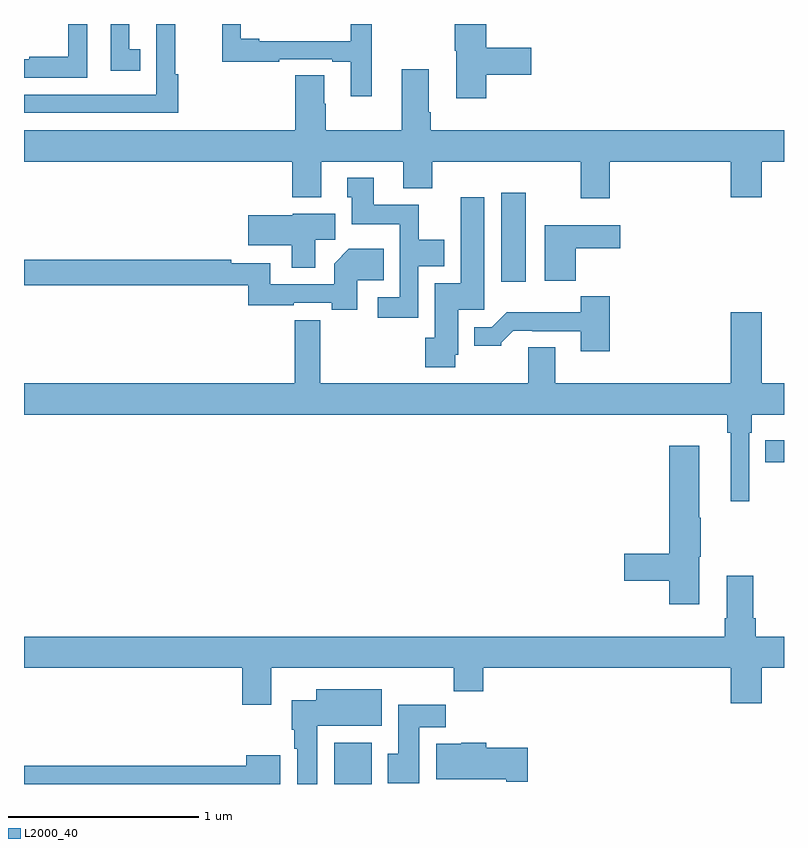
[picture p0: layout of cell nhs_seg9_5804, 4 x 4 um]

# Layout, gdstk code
import gdstk
lib = gdstk.Library(unit=1e-6, precision=1e-09)
def R(c, l, rs):  # rectangles x0, y0, x1, y1
    for r in rs: c.add(gdstk.rectangle(r[:2], r[2:], *l))
def P(c, l, *ps):  # polygons
    for p in ps: c.add(gdstk.Polygon(p, *l))
L2000_40 = (2000, 40)

nhs_seg9_5804 = lib.new_cell('nhs_seg9_5804')
R(nhs_seg9_5804, L2000_40, [(450.632,1170.5,450.829,1170.718), (452.902,1172.194,453,1172.31), (451.511,1173.144,451.642,1173.613), (450.311,1174.499,450.553,1174.5)])
P(nhs_seg9_5804, L2000_40, [(450.829,1174.5),(450.719,1174.5),(450.719,1174.41),(450.238,1174.41),(450.238,1174.423),(450.142,1174.423),(450.142,1174.5),(450.043,1174.5),(450.043,1174.302),(450.344,1174.302),(450.344,1174.314),(450.623,1174.314),(450.623,1174.302),(450.719,1174.302),(450.719,1174.119),(450.829,1174.119)],
  [(449.813,1174.235),(449.796,1174.235),(449.796,1174.5),(449.696,1174.5),(449.696,1174.456),(449.697,1174.456),(449.697,1174.128),(449,1174.128),(449,1174.032),(449.813,1174.032)],
  [(449.334,1174.5),(449.233,1174.5),(449.233,1174.327),(449.027,1174.327),(449.027,1174.315),(449,1174.315),(449,1174.218),(449.334,1174.218)],
  [(451.433,1174.234),(451.669,1174.234),(451.669,1174.376),(451.433,1174.376),(451.433,1174.5),(451.267,1174.5),(451.267,1174.359),(451.274,1174.359),(451.274,1174.11),(451.433,1174.11)],
  [(449.612,1174.367),(449.554,1174.367),(449.554,1174.5),(449.457,1174.5),(449.457,1174.254),(449.612,1174.254)],
  [(452.084,1173.776),(452.72,1173.776),(452.72,1173.588),(452.884,1173.588),(452.884,1173.776),(453,1173.776),(453,1173.94),(451.142,1173.94),(451.142,1174.036),(451.129,1174.036),(451.129,1174.261),(450.989,1174.261),(450.989,1173.94),(450.588,1173.94),(450.588,1174.079),(450.58,1174.079),(450.58,1174.229),(450.428,1174.229),(450.428,1173.94),(449,1173.94),(449,1173.776),(450.413,1173.776),(450.413,1173.587),(450.565,1173.587),(450.565,1173.776),(450.995,1173.776),(450.995,1173.635),(451.148,1173.635),(451.148,1173.776),(451.931,1173.776),(451.931,1173.582),(452.084,1173.582)],
  [(451.074,1173.224),(451.213,1173.224),(451.213,1173.364),(451.077,1173.364),(451.077,1173.55),(450.841,1173.55),(450.841,1173.691),(450.701,1173.691),(450.701,1173.588),(450.725,1173.588),(450.725,1173.446),(450.978,1173.446),(450.978,1173.063),(450.861,1173.063),(450.861,1172.955),(451.074,1172.955)],
  [(451.269,1172.76),(451.285,1172.76),(451.285,1172.997),(451.423,1172.997),(451.423,1173.589),(451.298,1173.589),(451.298,1173.136),(451.163,1173.136),(451.163,1172.85),(451.112,1172.85),(451.112,1172.694),(451.269,1172.694)],
  [(450.532,1173.364),(450.637,1173.364),(450.637,1173.502),(450.414,1173.502),(450.414,1173.493),(450.18,1173.493),(450.18,1173.335),(450.41,1173.335),(450.41,1173.216),(450.532,1173.216)],
  [(451.904,1173.32),(452.137,1173.32),(452.137,1173.442),(451.742,1173.442),(451.742,1173.149),(451.904,1173.149)],
  [(450.754,1173.152),(450.893,1173.152),(450.893,1173.316),(450.71,1173.316),(450.632,1173.238),(450.632,1173.129),(450.297,1173.129),(450.297,1173.24),(450.092,1173.24),(450.092,1173.26),(449,1173.26),(449,1173.124),(450.181,1173.124),(450.181,1173.021),(450.42,1173.021),(450.42,1173.033),(450.62,1173.033),(450.62,1172.995),(450.754,1172.995)],
  [(452.084,1173.067),(451.929,1173.067),(451.929,1172.983),(451.54,1172.983),(451.461,1172.904),(451.37,1172.904),(451.37,1172.807),(451.512,1172.807),(451.512,1172.822),(451.576,1172.886),(451.675,1172.886),(451.675,1172.883),(451.931,1172.883),(451.931,1172.778),(452.084,1172.778)],
  [(452.817,1172.348),(452.831,1172.348),(452.831,1172.444),(453,1172.444),(453,1172.608),(452.884,1172.608),(452.884,1172.983),(452.72,1172.983),(452.72,1172.608),(451.795,1172.608),(451.795,1172.798),(451.655,1172.798),(451.655,1172.608),(450.56,1172.608),(450.56,1172.941),(450.424,1172.941),(450.424,1172.608),(449,1172.608),(449,1172.444),(452.701,1172.444),(452.701,1172.348),(452.72,1172.348),(452.72,1171.989),(452.817,1171.989)],
  [(452.554,1171.695),(452.562,1171.695),(452.562,1171.901),(452.554,1171.901),(452.554,1172.281),(452.396,1172.281),(452.396,1171.712),(452.16,1171.712),(452.16,1171.57),(452.396,1171.57),(452.396,1171.446),(452.554,1171.446)],
  [(450.301,1171.112),(451.261,1171.112),(451.261,1170.988),(451.418,1170.988),(451.418,1171.112),(452.72,1171.112),(452.72,1170.924),(452.884,1170.924),(452.884,1171.112),(453,1171.112),(453,1171.276),(452.852,1171.276),(452.852,1171.372),(452.839,1171.372),(452.839,1171.597),(452.699,1171.597),(452.699,1171.372),(452.687,1171.372),(452.687,1171.276),(449,1171.276),(449,1171.112),(450.149,1171.112),(450.149,1170.918),(450.301,1170.918)],
  [(450.544,1170.806),(450.883,1170.806),(450.883,1171),(450.539,1171),(450.539,1170.94),(450.41,1170.94),(450.41,1170.786),(450.422,1170.786),(450.422,1170.686),(450.437,1170.686),(450.437,1170.5),(450.544,1170.5)],
  [(451.081,1170.8),(451.22,1170.8),(451.22,1170.918),(450.971,1170.918),(450.971,1170.66),(450.914,1170.66),(450.914,1170.504),(451.081,1170.504)],
  [(451.651,1170.69),(451.433,1170.69),(451.433,1170.718),(451.302,1170.718),(451.302,1170.712),(451.169,1170.712),(451.169,1170.524),(451.538,1170.524),(451.538,1170.512),(451.651,1170.512)],
  [(450.349,1170.652),(450.17,1170.652),(450.17,1170.596),(449,1170.596),(449,1170.5),(450.349,1170.5)])

lib.write_gds('nhs_seg9_5804.gds')
